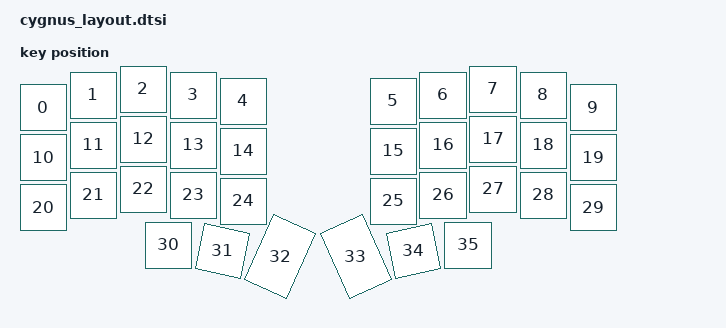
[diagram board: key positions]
/*
 * Copyright (c) 2026 The ZMK Contributors
 *
 * SPDX-License-Identifier: MIT
 */

/*
 * ZMK Studio draws a keymap against a physical-layout node rather than
 * against the matrix transform, so this is what makes the live editor show
 * something shaped like Cygnus instead of a bare grid.
 *
 * Cygnus (https://github.com/juhakaup/keyboards/tree/main/Cygnus%20v1.0) is a
 * concave, hand-wired dactyl build with no published key coordinates, but its
 * own README says the matrix is deliberately wired the way a Corne's is - and
 * this shape (three rows of five a side, columns staggered by finger length,
 * three curved thumb keys) is the same one, one that already ships with ZMK
 * as `foostan_corne_5col_layout`. So the thirty-six keys below are that
 * board's, standing in for coordinates the case's own STLs never wrote down.
 * The two-dimensional stagger is close enough for Studio's editor - it draws
 * a plan of the keymap, not the concave well the keys actually sit in - and
 * it can be nudged key by key later without touching anything that reads it.
 *
 * Order matches every matrix-transform's `map` in this shield: row 0 left
 * five then row 0 right five, the same for rows 1 and 2, then the three left
 * thumb keys and the three right, so position N here is keymap position N
 * everywhere else in this directory.
 */

#include <physical_layouts.dtsi>

/ {
    cygnus_layout: cygnus_layout {
        compatible = "zmk,physical-layout";
        display-name = "Cygnus";
        /* whichever shield includes this file has already defined its own
         * default_transform - the dongle's is a stand-in for a kscan it
         * hasn't got, the halves' is the real matrix, but both carry the
         * same thirty-six positions in the same order this layout does */
        transform = <&default_transform>;

        keys  //                     w   h    x    y     rot    rx    ry
            = <&key_physical_attrs 100 100    0   37       0     0     0>
            , <&key_physical_attrs 100 100  100   12       0     0     0>
            , <&key_physical_attrs 100 100  200    0       0     0     0>
            , <&key_physical_attrs 100 100  300   12       0     0     0>
            , <&key_physical_attrs 100 100  400   24       0     0     0>
            , <&key_physical_attrs 100 100  700   24       0     0     0>
            , <&key_physical_attrs 100 100  800   12       0     0     0>
            , <&key_physical_attrs 100 100  900    0       0     0     0>
            , <&key_physical_attrs 100 100 1000   12       0     0     0>
            , <&key_physical_attrs 100 100 1100   37       0     0     0>
            , <&key_physical_attrs 100 100    0  137       0     0     0>
            , <&key_physical_attrs 100 100  100  112       0     0     0>
            , <&key_physical_attrs 100 100  200  100       0     0     0>
            , <&key_physical_attrs 100 100  300  112       0     0     0>
            , <&key_physical_attrs 100 100  400  124       0     0     0>
            , <&key_physical_attrs 100 100  700  124       0     0     0>
            , <&key_physical_attrs 100 100  800  112       0     0     0>
            , <&key_physical_attrs 100 100  900  100       0     0     0>
            , <&key_physical_attrs 100 100 1000  112       0     0     0>
            , <&key_physical_attrs 100 100 1100  137       0     0     0>
            , <&key_physical_attrs 100 100    0  237       0     0     0>
            , <&key_physical_attrs 100 100  100  212       0     0     0>
            , <&key_physical_attrs 100 100  200  200       0     0     0>
            , <&key_physical_attrs 100 100  300  212       0     0     0>
            , <&key_physical_attrs 100 100  400  224       0     0     0>
            , <&key_physical_attrs 100 100  700  224       0     0     0>
            , <&key_physical_attrs 100 100  800  212       0     0     0>
            , <&key_physical_attrs 100 100  900  200       0     0     0>
            , <&key_physical_attrs 100 100 1000  212       0     0     0>
            , <&key_physical_attrs 100 100 1100  237       0     0     0>
            , <&key_physical_attrs 100 100  250  312       0     0     0>
            , <&key_physical_attrs 100 100  350  312    1200   350   412>
            , <&key_physical_attrs 100 150  448  283    2400   448   433>
            , <&key_physical_attrs 100 150  652  283  (-2400)  752   433>
            , <&key_physical_attrs 100 100  750  312  (-1200)  850   412>
            , <&key_physical_attrs 100 100  850  312       0     0     0>
        ;
    };
};
